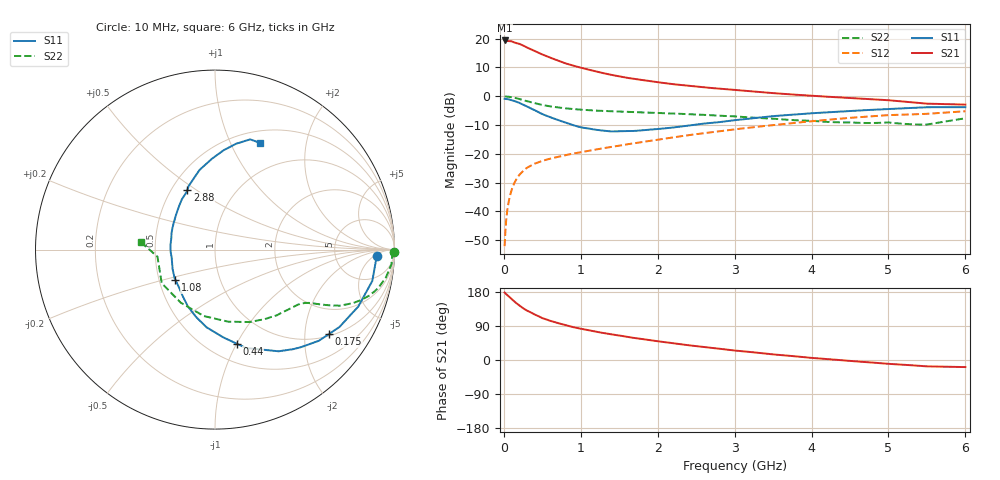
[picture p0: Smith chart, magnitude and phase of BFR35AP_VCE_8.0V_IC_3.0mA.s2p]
! Infineon Technologies  Discrete & RF Semiconductors
! BFR35AP
! VCE =  8.0 V,  IC =  3.0 mA
! Common Emitter S-Parameters:  Nov 2015
# GHz  S  MA  R  50
!  f  S11  S21  S12  S22
! GHz  MAG  ANG  MAG  ANG  MAG  ANG  MAG  ANG
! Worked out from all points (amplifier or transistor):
!   210 points, 10 MHz to 6 GHz, reference 50 ohm
!   highest |S21| = 19.4 dB at 10 MHz (marker M1)
!   |S21| within 3 dB of that: start of sweep to 346.1 MHz
!   unconditionally stable (mu >= 1): 1.05 GHz to 3.212 GHz
!   at 185 MHz: K = 0.27, MSG = 23.1 dB, |S12| = -27.9 dB
!   at 1.52 GHz: K = 1.11, MAG = 9.9 dB, |S12| = -17.1 dB
!   at 6 GHz: K = 0.92, MSG = 1.2 dB, |S12| = -5.2 dB
!   S11 on the Smith chart (normalised r, x): 10 MHz: 17, -7; 175 MHz: 1.06, -2.66; 440 MHz: 0.68, -1.00; 1.08 GHz: 0.61, -0.22; 2.88 GHz: 0.60, +0.46; 6 GHz: 0.64, +1.30
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0.01  0.902 -2.3  9.298 178.0  0.0025 88.0  0.9977 -0.8
0.02  0.8978 -4.5  9.094 175.8  0.0045 87.0  0.9879 -1.9
0.04  0.8935 -9.0  9.11 172.2  0.0093 84.1  0.9868 -3.8
0.1  0.8589 -21.7  8.994 161.3  0.0235 78.2  0.9652 -9.2
0.175  0.7904 -36.5  8.28 148.1  0.0384 70.0  0.9161 -14.9
0.2  0.7698 -41.3  8.131 144.0  0.043 68.0  0.8987 -16.5
0.26  0.705 -51.9  7.497 135.4  0.0517 63.6  0.8498 -19.7
0.3  0.6681 -58.0  7.024 130.4  0.0573 61.3  0.8217 -21.4
0.44  0.538 -77.0  5.78 116.6  0.0707 55.8  0.7379 -25.0
0.5  0.4907 -84.7  5.313 110.6  0.0756 54.5  0.7053 -26.1
0.6  0.4354 -96.2  4.69 103.6  0.0824 53.1  0.6666 -27.3
0.7  0.3888 -105.9  4.172 97.5  0.0886 52.5  0.6397 -28.2
0.9  0.3154 -124.8  3.398 86.8  0.1012 52.4  0.5995 -29.7
1.02  0.2857 -136.5  3.083 81.7  0.1078 52.9  0.5824 -30.7
1.08  0.2779 -142.5  2.944 79.4  0.1117 53.1  0.5753 -31.3
1.6  0.2493 174.9  2.091 61.1  0.1462 54.4  0.5359 -37.1
2.02  0.2715 148.7  1.739 49.0  0.1784 54.5  0.5112 -43.4
2.88  0.3665 114.9  1.326 27.9  0.2551 50.9  0.4546 -61.1
3.1  0.3961 109.8  1.25 23.2  0.2761 49.0  0.4376 -67.1
4.1  0.516 90.4  1.002 4.1  0.3786 38.9  0.366 -104.0
5.1  0.6095 77.3  0.83 -11.3  0.4749 24.8  0.3403 -152.4
6  0.6456 67.0  0.716 -18.7  0.5491 13.6  0.4153 174.2
